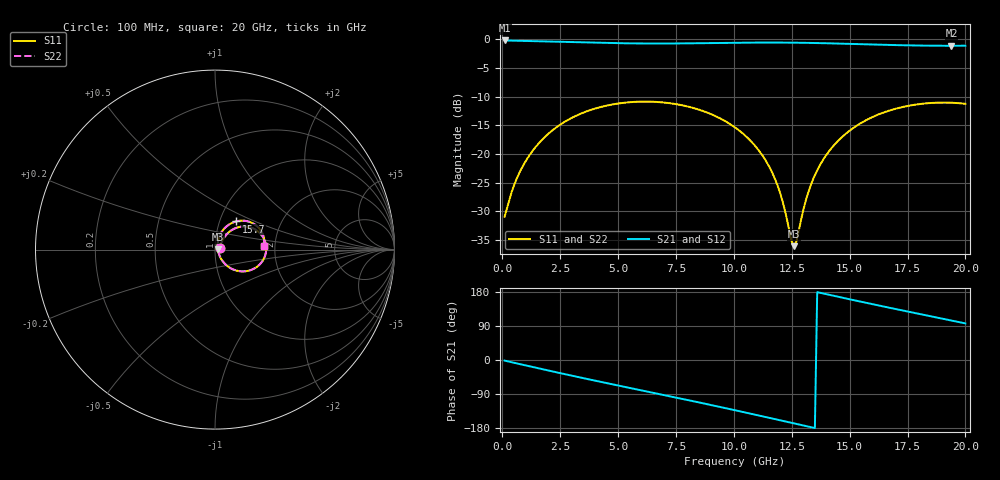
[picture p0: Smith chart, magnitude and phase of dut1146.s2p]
! Touchstone file exported from HFSS 2026.1.0
!  File:  C:/ffzhzh/LocalFiles/Ansys_Project_Files/temp_train_TSV_RDL_1146_1783309996_39728.aedt
!  Generated:  12:01:54 PM Jul  6, 2026
!  Design:  TSV_RDL
!  Project:  temp_train_TSV_RDL_1146_1783309996_39728
! Variables:
!  h_bsmrdl = 3.84um
!  h_ox = 20um
!  h_rdl = 5um
!  h_sub = 64.18um
!  h_tmrdl = 3.29um
!  h_tsv = 64.18um
!  h_via = 3um
!  l_bsmrdl = 684.02um
!  l_sub = 4476.7um
!  l_tmrdl = 482.88um
!  m_sub = 200um
!  pitch = 25.87um
!  r_tsv = 8.71um
!  s_tmrdl = 10um
!  w_bsmrdl = 16.89um
!  w_sub = 500um
!  w_tmrdl = 14.15um
!  x_tsv_center1 = 489.955um
!  x_tsv_center2 = 1190.865um
!  x_tsv_center3 = 1687.895um
!  x_tsv_center4 = 2388.805um
!  x_tsv_center5 = 2885.835um
!  x_tsv_center6 = 3586.745um
# GHz S MA R 50.000000
! Terminal data exported
! Port[1] = TM_RDL1_1_T1
! Port[2] = TM_RDL5_1_T1
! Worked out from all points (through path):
!   200 points, 100 MHz to 20 GHz, reference 50 ohm
!   highest |S21| = -0.24 dB at 100 MHz (marker M1); lowest = -1.2 dB at 19.4 GHz (marker M2)
!   group delay of S21, straight-line fit = 36.6 ps
!   lowest |S11| = -36.1 dB at 12.6 GHz (marker M3), VSWR 1.03, Z = 51.6 + j0.209 ohm
!   |S11| at or under -10 dB: start of sweep to end of sweep
!   |S22| runs from -35.9 to -10.9 dB; largest |S21 - S12| = 1.6e-14
!   S11 on the Smith chart (normalised r, x): 100 MHz: 1.06, +0.02; 15.7 GHz: 1.20, +0.39; 20 GHz: 1.75, +0.07
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0.1  0.02844 18.3  0.9732 -1.5  0.9732 -1.5  0.02844 18.3
! Gamma 0 0 0 0
! Port Impedance 50 0 50 0
0.6  0.05944 48.8  0.9668 -8.7  0.9668 -8.7  0.05944 48.8
1.3  0.1057 52.6  0.9602 -18.3  0.9602 -18.3  0.1057 52.6
2.3  0.1685 45.8  0.9495 -32.0  0.9495 -32.0  0.1684 45.8
3.5  0.2289 33.1  0.9352 -47.9  0.9352 -47.9  0.2289 33.1
5.1  0.2765 14.5  0.9202 -68.6  0.9202 -68.6  0.2765 14.5
6.8  0.2824 -5.6  0.915 -90.2  0.915 -90.2  0.2824 -5.5
8.5  0.2427 -25.8  0.9206 -112.0  0.9206 -112.0  0.2427 -25.7
10.1  0.1674 -44.4  0.9295 -133.2  0.9295 -133.2  0.1674 -44.3
10.9  0.1188 -52.5  0.9325 -144.0  0.9325 -144.0  0.1188 -52.4
11.6  0.07247 -56.8  0.9334 -153.6  0.9334 -153.6  0.07249 -56.5
12  0.04554 -54.4  0.933 -159.1  0.933 -159.1  0.04559 -54.0
12.5  0.01728 -15.7  0.9314 -165.9  0.9314 -165.9  0.01752 -15.1
12.6  0.01572 7.4  0.9309 -167.3  0.9309 -167.3  0.016 7.6
12.7  0.01725 30.5  0.9304 -168.7  0.9304 -168.7  0.01752 30.3
13.1  0.03879 67.1  0.928 -174.1  0.928 -174.1  0.03894 66.7
13.4  0.05859 71.5  0.9257 -178.2  0.9257 -178.2  0.0587 71.3
14.3  0.1175 67.7  0.917 169.6  0.917 169.6  0.1176 67.6
15.7  0.1961 53.2  0.9005 151.1  0.9005 151.1  0.1961 53.2
16.7  0.238 41.8  0.8893 138.1  0.8893 138.1  0.238 41.8
19.4  0.2791 10.9  0.8748 104.1  0.8748 104.1  0.279 10.9
20  0.2732 4.0  0.8756 96.6  0.8756 96.6  0.2731 4.0
